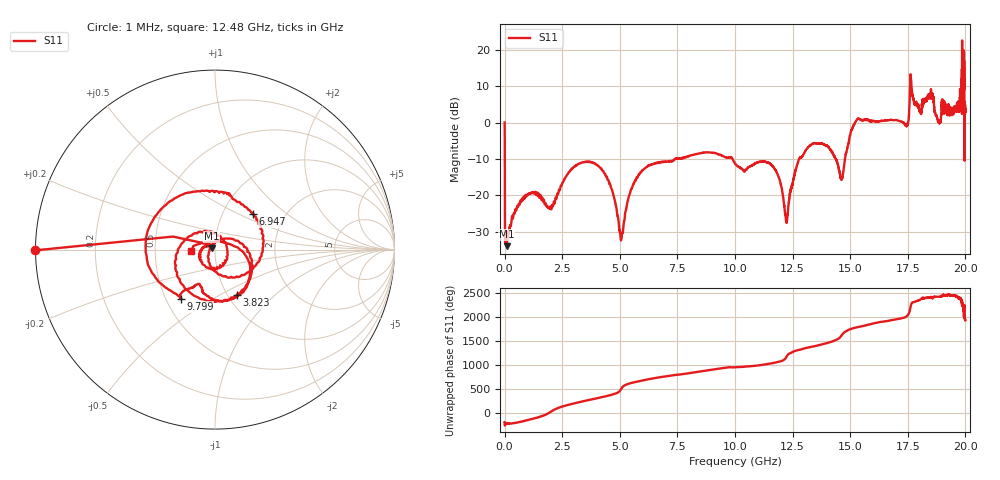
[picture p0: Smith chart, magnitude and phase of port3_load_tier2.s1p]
! Created with skrf 1.8.0 (http://scikit-rf.org).
# GHz S RI R 50.0
!freq ReS11 ImS11
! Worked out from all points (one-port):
!   10001 points, 1 MHz to 20 GHz, reference 50 ohm
!   lowest |S11| = -34.0 dB at 93 MHz (marker M1), VSWR 1.04, Z = 48.2 + j0.746 ohm
!   |S11| at or under -10 dB: 8.48 MHz to 7.409 GHz (7.4 GHz wide, 200 % of centre); 9.891 GHz to 12.78 GHz (2.893 GHz wide, 25.5 % of centre); 14.37 GHz to 14.77 GHz (401.9 MHz wide, 2.76 % of centre) (the widest 3 of 5)
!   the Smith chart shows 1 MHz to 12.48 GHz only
!   S11 on the Smith chart (normalised r, x): 1 MHz: -0.00, -0.00; 3.823 GHz: 1.10, -0.60; 6.947 GHz: 1.39, +0.60; 9.799 GHz: 0.59, -0.37; 12.48 GHz: 0.76, -0.02
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0.001  -1.002 -0.00422
0.0929954  -0.0184 0.00774
2.500875  -0.115 0.0903
3.822809  0.1212 -0.2522
5.00075  -0.00761 0.0314
6.946653  0.2134 0.1987
7.500625  0.0639 0.3145
9.79851  -0.1914 -0.2745
10.0005  -0.1568 -0.222
12.48438  -0.1371 -0.014
12.50038  -0.1413 -0.0282
14.36428  0.0738 0.3108
15.00025  0.364 -0.5662
15.58422  1.062 0.1959
16.44218  -0.1683 1.045
17.25414  -1.005 0.1812
17.50013  -0.6103 -0.7684
17.56812  0.6551 -1.548
17.70811  -1.687 1.652
17.77611  -1.555 1.013
18.17409  -1.176 -1.426
18.45408  -1.412 -1.83
18.83006  -0.3228 -0.9811
19.22404  0.3688 -1.456
19.69202  -0.8081 -1.154
19.77001  -2.261 -1.776
19.93  4.346 1.599
20  -0.8513 1.174
